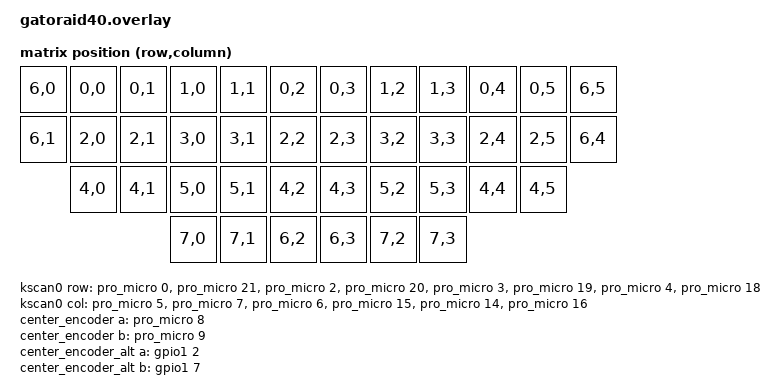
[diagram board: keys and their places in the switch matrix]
/*
 * Copyright (c) 2021 The ZMK Contributors
 *
 * SPDX-License-Identifier: MIT
 */

#include <dt-bindings/zmk/matrix_transform.h>

//n!n extra pins are probably &gpio1 1, &gpio1 2, &gpio1 7

/ {
    chosen {
        zmk,kscan = &kscan0;
        zmk,matrix_transform = &default_transform;
    };

    default_transform: keymap_transform_0 {
        compatible = "zmk,matrix-transform";
        columns = <6>;
        rows = <8>;

        map = <
            RC(6,0) RC(0,0) RC(0,1) RC(1,0) RC(1,1) RC(0,2) RC(0,3) RC(1,2) RC(1,3) RC(0,4) RC(0,5) RC(6,5)
            RC(6,1) RC(2,0) RC(2,1) RC(3,0) RC(3,1) RC(2,2) RC(2,3) RC(3,2) RC(3,3) RC(2,4) RC(2,5) RC(6,4)
                    RC(4,0) RC(4,1) RC(5,0) RC(5,1) RC(4,2) RC(4,3) RC(5,2) RC(5,3) RC(4,4) RC(4,5)
                                    RC(7,0) RC(7,1) RC(6,2) RC(6,3) RC(7,2) RC(7,3)
        >;
    };

    kscan0: kscan_0 {
        compatible = "zmk,kscan-gpio-matrix";
        label = "KSCAN";
        diode-direction = "col2row";

        col-gpios
            = <&pro_micro 5  GPIO_ACTIVE_HIGH>
            , <&pro_micro 7  GPIO_ACTIVE_HIGH>
            , <&pro_micro 6  GPIO_ACTIVE_HIGH>
            , <&pro_micro 15 GPIO_ACTIVE_HIGH>
            , <&pro_micro 14 GPIO_ACTIVE_HIGH>
            , <&pro_micro 16 GPIO_ACTIVE_HIGH>
            ;

        row-gpios
            = <&pro_micro 0  (GPIO_ACTIVE_HIGH | GPIO_PULL_DOWN)>
            , <&pro_micro 21 (GPIO_ACTIVE_HIGH | GPIO_PULL_DOWN)>
            , <&pro_micro 2  (GPIO_ACTIVE_HIGH | GPIO_PULL_DOWN)>
            , <&pro_micro 20 (GPIO_ACTIVE_HIGH | GPIO_PULL_DOWN)>
            , <&pro_micro 3  (GPIO_ACTIVE_HIGH | GPIO_PULL_DOWN)>
            , <&pro_micro 19 (GPIO_ACTIVE_HIGH | GPIO_PULL_DOWN)>
            , <&pro_micro 4  (GPIO_ACTIVE_HIGH | GPIO_PULL_DOWN)>
            , <&pro_micro 18 (GPIO_ACTIVE_HIGH | GPIO_PULL_DOWN)>
            ;
    };

//    kscan1: kscan_1 {
//        compatible = "zmk, gpio-direct";
//        label = "KSCAN"
//  }

    center_encoder: encoder_center {
		compatible = "alps,ec11";
		label = "CENTER_ENCODER";
		a-gpios = <&pro_micro 8 (GPIO_ACTIVE_HIGH | GPIO_PULL_UP)>;
		b-gpios = <&pro_micro 9 (GPIO_ACTIVE_HIGH | GPIO_PULL_UP)>;
		resolution = <4>;
		status = "okay";
	};

    center_encoder_alt: encoder_center_alt {
		compatible = "alps,ec11";
		label = "CENTER_ENCODER_ALT";
		a-gpios = <&gpio1 2 (GPIO_ACTIVE_HIGH | GPIO_PULL_UP)>;
		b-gpios = <&gpio1 7 (GPIO_ACTIVE_HIGH | GPIO_PULL_UP)>;
		resolution = <4>;
		status = "okay";
	};

    left_encoder: encoder_left {
		compatible = "alps,ec11";
		label = "LEFT_ENCODER";
		a-gpios = <&pro_micro 10 (GPIO_ACTIVE_HIGH | GPIO_PULL_UP)>;
		b-gpios = <&gpio1 1      (GPIO_ACTIVE_HIGH | GPIO_PULL_UP)>;
		resolution = <4>;
		status = "okay";
	};

	right_encoder: encoder_right {
		compatible = "alps,ec11";
		label = "RIGHT_ENCODER";
		a-gpios = <&pro_micro 8 (GPIO_ACTIVE_HIGH | GPIO_PULL_UP)>;
		b-gpios = <&pro_micro 9 (GPIO_ACTIVE_HIGH | GPIO_PULL_UP)>;
		resolution = <4>;
		status = "okay";
	};

	sensors: sensors {
		compatible = "zmk,keymap-sensors";
		status = "okay";
        sensors = <&center_encoder &center_encoder_alt &left_encoder &right_encoder>;
	};
};
